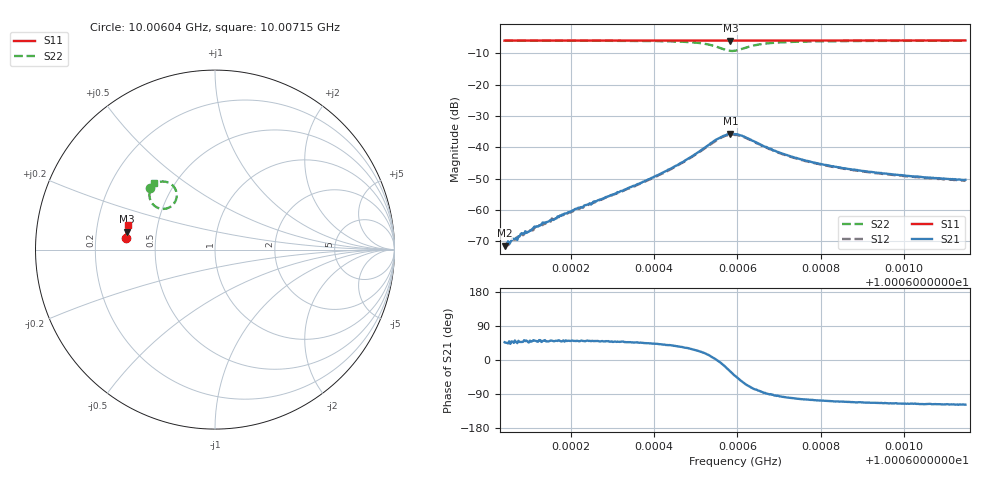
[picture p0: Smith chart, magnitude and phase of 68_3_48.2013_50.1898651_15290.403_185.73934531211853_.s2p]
#  HZ  S  RI  R  50.00
! Rohde & Schwarz Vector Network Analyzer
! Rohde-Schwarz,ZNB20-2Port,1311601062101988,3.16
! Created: UTC 3/20/2024, 11:39:04 AM
! freq[Hz]  re:S11  im:S11  re:S21  im:S21  re:S12  im:S12  re:S22  im:S22
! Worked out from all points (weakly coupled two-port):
!   401 points, 10.00604 GHz to 10.00715 GHz, reference 50 ohm
!   highest |S21| = -35.72 dB at 10.00658 GHz (marker M1); lowest = -71.3 dB at 10.00604 GHz (marker M2)
!   lowest |S11| = -6.0 dB at 10.00658 GHz (marker M3), VSWR 3.01, Z = 16.8 + j4.45 ohm
!   |S11| at or under -10 dB: nowhere
!   |S22| runs from -9.3 to -6.0 dB; largest |S21 - S12| = 0.0011
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1.0006041e10  -0.4975 0.0649  0.000185 0.000198  0.000166 0.000206  -0.3643 0.3406
1.000605e10  -0.4974 0.0654  0.00023 0.000219  0.000183 0.000203  -0.3637 0.3413
1.0006063e10  -0.4974 0.0664  0.000243 0.000244  0.000217 0.000263  -0.3628 0.3421
1.0006072e10  -0.4973 0.067  0.000236 0.000232  0.000218 0.000301  -0.3623 0.3428
1.0006086e10  -0.4973 0.0678  0.000279 0.000309  0.000246 0.000309  -0.3615 0.3438
1.0006099e10  -0.4971 0.0687  0.000313 0.000323  0.000266 0.000333  -0.3604 0.3447
1.0006113e10  -0.497 0.0698  0.000341 0.000425  0.000297 0.000435  -0.3595 0.3458
1.000618e10  -0.4965 0.0739  0.000551 0.00064  0.000499 0.000654  -0.3543 0.351
1.0006227e10  -0.4961 0.077  0.000688 0.000854  0.000683 0.000879  -0.3502 0.3548
1.0006412e10  -0.4943 0.0893  0.00274 0.00245  0.00258 0.00253  -0.3193 0.3741
1.0006473e10  -0.4933 0.0933  0.00508 0.00325  0.00476 0.00347  -0.2926 0.3796
1.0006522e10  -0.4925 0.0965  0.00942 0.00298  0.00905 0.00335  -0.2499 0.3683
1.0006558e10  -0.4915 0.0984  0.0142 -0.00147  0.0139 -0.000789  -0.2145 0.3174
1.0006583e10  -0.491 0.0993  0.0142 -0.00819  0.0142 -0.0072  -0.2292 0.256
1.0006594e10  -0.491 0.0999  0.012 -0.0108  0.0122 -0.0098  -0.2522 0.2362
1.0006614e10  -0.4915 0.1006  0.00767 -0.0128  0.00827 -0.0122  -0.2979 0.2273
1.0006655e10  -0.4915 0.1032  0.0014 -0.011  0.00197 -0.0108  -0.3525 0.2607
1.0006708e10  -0.4913 0.1069  -0.00097 -0.00788  -0.000553 -0.00775  -0.3651 0.2981
1.000678e10  -0.4905 0.1118  -0.00151 -0.00558  -0.00127 -0.00551  -0.3625 0.3247
1.0006865e10  -0.4896 0.1173  -0.00159 -0.00422  -0.00134 -0.00423  -0.3559 0.3415
1.0006965e10  -0.4881 0.1236  -0.00155 -0.00341  -0.00135 -0.0034  -0.3487 0.3536
1.0007147e10  -0.4854 0.1352  -0.00142 -0.00267  -0.00127 -0.00265  -0.3372 0.3685
